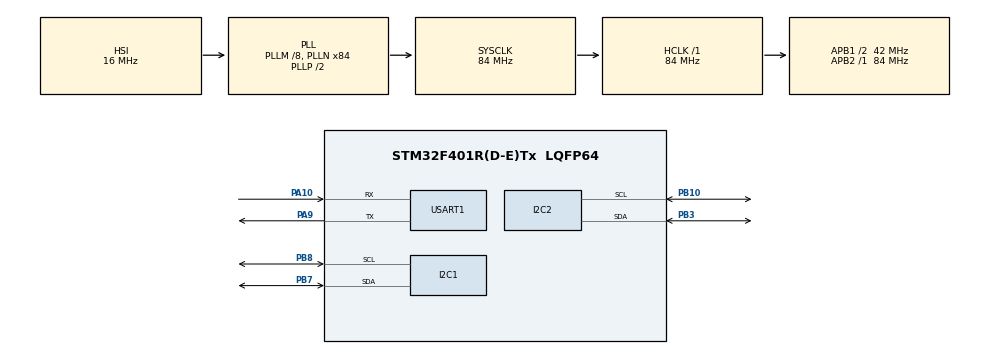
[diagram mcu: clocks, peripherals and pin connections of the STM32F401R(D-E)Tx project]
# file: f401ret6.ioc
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I2C1.I2C_Mode=I2C_Fast
I2C2.I2C_Mode=I2C_Fast
Mcu.Family=STM32F4
Mcu.Name=STM32F401R(D-E)Tx
Mcu.Package=LQFP64
NVIC.I2C1_ER_IRQn=true\:0\:0\:false\:false\:true\:true\:true
NVIC.I2C1_EV_IRQn=true\:0\:0\:false\:false\:true\:true\:true
NVIC.I2C2_ER_IRQn=true\:0\:0\:false\:false\:true\:true\:true
NVIC.I2C2_EV_IRQn=true\:0\:0\:false\:false\:true\:true\:true
NVIC.PriorityGroup=NVIC_PRIORITYGROUP_4
NVIC.USART1_IRQn=true\:0\:0\:false\:false\:true\:true\:true
PA10.Mode=Multiprocessor_communication
PA10.Signal=USART1_RX
PA9.Mode=Multiprocessor_communication
PA9.Signal=USART1_TX
PB10.Mode=I2C
PB10.Signal=I2C2_SCL
PB3.Mode=I2C
PB3.Signal=I2C2_SDA
PB7.Mode=I2C
PB7.Signal=I2C1_SDA
PB8.Mode=I2C
PB8.Signal=I2C1_SCL
PH0\ -\ OSC_IN.Mode=HSE-External-Oscillator
PH0\ -\ OSC_IN.Signal=RCC_OSC_IN
PH1\ -\ OSC_OUT.Mode=HSE-External-Oscillator
PH1\ -\ OSC_OUT.Signal=RCC_OSC_OUT
ProjectManager.HeapSize=0x200
ProjectManager.StackSize=0x400
ProjectManager.TargetToolchain=MDK-ARM V5.32
RCC.48MHZClocksFreq_Value=42000000
RCC.AHBFreq_Value=84000000
RCC.APB1CLKDivider=RCC_HCLK_DIV2
RCC.APB1Freq_Value=42000000
RCC.APB1TimFreq_Value=84000000
RCC.APB2Freq_Value=84000000
RCC.APB2TimFreq_Value=84000000
RCC.CortexFreq_Value=84000000
RCC.HCLKFreq_Value=84000000
RCC.HSE_VALUE=25000000
RCC.HSI_VALUE=16000000
RCC.LSE_VALUE=32768
RCC.PLLM=8
RCC.PLLN=84
RCC.SYSCLKFreq_VALUE=84000000
RCC.SYSCLKSource=RCC_SYSCLKSOURCE_PLLCLK
RCC.VCOOutputFreq_Value=168000000
USART1.VirtualMode=VM_ASYNC
board=custom

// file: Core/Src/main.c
/* USER CODE BEGIN Header */
/**
  ******************************************************************************
  * @file           : main.c
  * @brief          : Main program body
  ******************************************************************************
  * @attention
  *
  * Copyright (c) 2022 STMicroelectronics.
  * All rights reserved.
  *
  * This software is licensed under terms that can be found in the LICENSE file
  * in the root directory of this software component.
  * If no LICENSE file comes with this software, it is provided AS-IS.
  *
  ******************************************************************************
  */
/* USER CODE END Header */
#include "main.h"
#include "i2c.h"
#include "usart.h"
#include "gpio.h"

/* USER CODE BEGIN Includes */
#include "oled_i2c.h"
#include "mpu6050.h"
#include "stm32f4xx_hal.h"
#include "stm32f4xx_hal_uart.h"
#include "stdio.h"
/* USER CODE END Includes */

/* USER CODE BEGIN PV */
float *AC,*GC,TempC;
/* USER CODE END PV */

void SystemClock_Config(void);

/* USER CODE BEGIN 0 */
/*
#ifdef __GNUC__
#define PUTCHAR_PROTOTYPE int __io_putchar(int ch)
#else
#define PUTCHAR_PROTOTYPE int fputc(int ch, FILE *f)
#endif
PUTCHAR_PROTOTYPE
{
    //具体哪个串口可以更改USART1为其它串口
    while ((USART1->SR & 0X40) == 0); //循环发送,直到发送完毕
    USART1->DR = (uint8_t) ch;
    return ch;
}
*/
/* USER CODE END 0 */

int main(void)
{

  /* MCU Configuration--------------------------------------------------------*/

  /* Reset of all peripherals, Initializes the Flash interface and the Systick. */
  HAL_Init();

  /* Configure the system clock */
  SystemClock_Config();

  /* Initialize all configured peripherals */
  MX_GPIO_Init();
  MX_USART1_UART_Init();
  MX_I2C1_Init();
  MX_I2C2_Init();
  /* USER CODE BEGIN 2 */
	HAL_UART_Transmit(&huart1,(uint8_t *)"helloworld",10,0xffff);
	OLED_Init(hi2c1);
	OLED_DrawChar(10,10,'c');
	OLED_Refresh();
	MPU6050_init(hi2c2);
	HAL_Delay(3000);
  /* USER CODE END 2 */

  /* Infinite loop */
  /* USER CODE BEGIN WHILE */
	int i=0;
	int x=4;
	int y=4;
  while (1)
  {
    /* USER CODE END WHILE */

    /* USER CODE BEGIN 3 */
		/*
		AC = MPU6050_Read_Accel();
		GC = MPU6050_Read_Gyro();
		TempC = MPU6050_Read_Temp();
		printf("A: %f %f %f\n",AC[0],AC[1],AC[2]);
		printf("G: %f %f %f\n",GC[0],GC[1],GC[2]);
		printf("T: %f\n",TempC);
		*/
		for(i=40;i<=100;i++){
			OLED_DrawChar(x,y,i);
			OLED_Refresh();
			x++;
			if(x==124)x=4,y++;
			if(y==60)y=4;
			HAL_Delay(50);
		}
  }
  /* USER CODE END 3 */
}

void SystemClock_Config(void)
{
  RCC_OscInitTypeDef RCC_OscInitStruct = {0};
  RCC_ClkInitTypeDef RCC_ClkInitStruct = {0};

  /** Configure the main internal regulator output voltage
  */
  __HAL_RCC_PWR_CLK_ENABLE();
  __HAL_PWR_VOLTAGESCALING_CONFIG(PWR_REGULATOR_VOLTAGE_SCALE2);
  /** Initializes the RCC Oscillators according to the specified parameters
  * in the RCC_OscInitTypeDef structure.
  */
  RCC_OscInitStruct.OscillatorType = RCC_OSCILLATORTYPE_HSI;
  RCC_OscInitStruct.HSIState = RCC_HSI_ON;
  RCC_OscInitStruct.HSICalibrationValue = RCC_HSICALIBRATION_DEFAULT;
  RCC_OscInitStruct.PLL.PLLState = RCC_PLL_ON;
  RCC_OscInitStruct.PLL.PLLSource = RCC_PLLSOURCE_HSI;
  RCC_OscInitStruct.PLL.PLLM = 8;
  RCC_OscInitStruct.PLL.PLLN = 84;
  RCC_OscInitStruct.PLL.PLLP = RCC_PLLP_DIV2;
  RCC_OscInitStruct.PLL.PLLQ = 4;
  if (HAL_RCC_OscConfig(&RCC_OscInitStruct) != HAL_OK)
  {
    Error_Handler();
  }
  /** Initializes the CPU, AHB and APB buses clocks
  */
  RCC_ClkInitStruct.ClockType = RCC_CLOCKTYPE_HCLK|RCC_CLOCKTYPE_SYSCLK
                              |RCC_CLOCKTYPE_PCLK1|RCC_CLOCKTYPE_PCLK2;
  RCC_ClkInitStruct.SYSCLKSource = RCC_SYSCLKSOURCE_PLLCLK;
  RCC_ClkInitStruct.AHBCLKDivider = RCC_SYSCLK_DIV1;
  RCC_ClkInitStruct.APB1CLKDivider = RCC_HCLK_DIV2;
  RCC_ClkInitStruct.APB2CLKDivider = RCC_HCLK_DIV1;

  if (HAL_RCC_ClockConfig(&RCC_ClkInitStruct, FLASH_LATENCY_2) != HAL_OK)
  {
    Error_Handler();
  }
}

void Error_Handler(void)
{
  __disable_irq();
  while (1)
  {
  }
}
